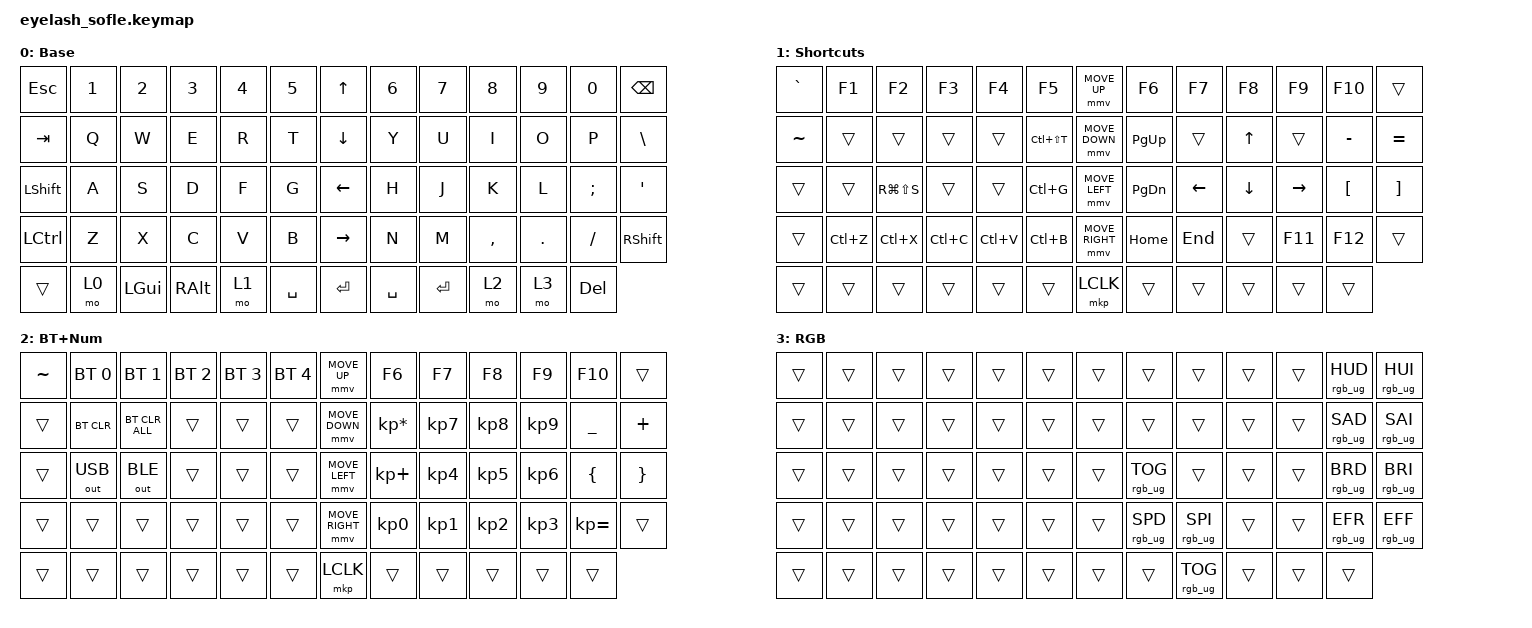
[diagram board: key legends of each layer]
#define ZMK_POINTING_DEFAULT_MOVE_VAL 1200  // 600
#define ZMK_POINTING_DEFAULT_SCRL_VAL 25   // 10

#include <input/processors.dtsi>
#include <zephyr/dt-bindings/input/input-event-codes.h>
#include <behaviors.dtsi>
#include <dt-bindings/zmk/bt.h>
#include <dt-bindings/zmk/keys.h>
#include <dt-bindings/zmk/outputs.h>
#include <dt-bindings/zmk/pointing.h>
#include <dt-bindings/zmk/rgb.h>

&mmv_input_listener { input-processors = <&zip_xy_scaler 2 1>; };

&msc_input_listener { input-processors = <&zip_scroll_scaler 2 1>; };

&msc {
    acceleration-exponent = <1>;      // 0
    time-to-max-speed-ms = <100>;       // 300
    delay-ms = <0>;                   // 0
};

&mmv {
    time-to-max-speed-ms = <500>;
    acceleration-exponent = <1>;
    trigger-period-ms = <16>;
};

&soft_off { hold-time-ms = <2000>; };

/ {
    scroll_encoder: scroll_encoder {
        compatible = "zmk,behavior-sensor-rotate";
        #sensor-binding-cells = <0>;
        bindings = <&msc SCRL_DOWN>, <&msc SCRL_UP>;

        tap-ms = <100>;
    };

    behaviors {
    };

    combos {
        compatible = "zmk,combos";

        softoff {
            bindings = <&soft_off>;
            key-positions = <14 28 40>;
        };
    };

    keymap {
        compatible = "zmk,keymap";

        Base {
            bindings = <
&kp ESC         &kp N1  &kp N2        &kp N3         &kp N4  &kp N5       &kp UP_ARROW     &kp N6     &kp N7     &kp N8     &kp N9   &kp N0      &kp BACKSPACE
&kp TAB         &kp Q   &kp W         &kp E          &kp R   &kp T        &kp DOWN_ARROW   &kp Y      &kp U      &kp I      &kp O    &kp P       &kp BSLH
&kp LEFT_SHIFT  &kp A   &kp S         &kp D          &kp F   &kp G        &kp LEFT_ARROW   &kp H      &kp J      &kp K      &kp L    &kp SEMI    &kp APOS
&kp LCTRL       &kp Z   &kp X         &kp C          &kp V   &kp B        &kp RIGHT_ARROW  &kp N      &kp M      &kp COMMA  &kp DOT  &kp FSLH    &kp RIGHT_SHIFT
&trans          &mo 0   &kp LEFT_GUI  &kp RIGHT_ALT  &mo 1   &kp SPACE    &kp ENTER        &kp SPACE  &kp ENTER  &mo 2      &mo 3    &kp DELETE
            >;

            display-name = "Base";
        };

        Shortcuts {
            bindings = <
&kp GRAVE  &kp F1     &kp F2         &kp F3     &kp F4     &kp F5           &mmv MOVE_UP     &kp F6     &kp F7    &kp F8    &kp F9     &kp F10           &trans
&kp TILDE  &trans     &trans         &trans     &trans     &kp LC(LS(T))    &mmv MOVE_DOWN   &kp PG_UP  &trans    &kp UP    &trans     &kp MINUS         &kp EQUAL
&trans     &trans     &kp RG(LS(S))  &trans     &trans     &kp LC(G)        &mmv MOVE_LEFT   &kp PG_DN  &kp LEFT  &kp DOWN  &kp RIGHT  &kp LEFT_BRACKET  &kp RIGHT_BRACKET
&trans     &kp LC(Z)  &kp LC(X)      &kp LC(C)  &kp LC(V)  &kp LC(B)        &mmv MOVE_RIGHT  &kp HOME   &kp END   &trans    &kp F11    &kp F12           &trans
&trans     &trans     &trans         &trans     &trans     &trans           &mkp LCLK        &trans     &trans    &trans    &trans     &trans
            >;

            display-name = "Shortcuts";
        };

        BT+Num {
            bindings = <
&kp TILDE  &bt BT_SEL 0  &bt BT_SEL 1    &bt BT_SEL 2  &bt BT_SEL 3  &bt BT_SEL 4    &mmv MOVE_UP     &kp F6           &kp F7           &kp F8           &kp F9           &kp F10       &trans
&trans     &bt BT_CLR    &bt BT_CLR_ALL  &trans        &trans        &trans          &mmv MOVE_DOWN   &kp KP_ASTERISK  &kp KP_NUMBER_7  &kp KP_NUMBER_8  &kp KP_NUMBER_9  &kp UNDER     &kp PLUS
&trans     &out OUT_USB  &out OUT_BLE    &trans        &trans        &trans          &mmv MOVE_LEFT   &kp KP_PLUS      &kp KP_NUMBER_4  &kp KP_NUMBER_5  &kp KP_NUMBER_6  &kp LBRC      &kp RBRC
&trans     &trans        &trans          &trans        &trans        &trans          &mmv MOVE_RIGHT  &kp KP_NUMBER_0  &kp KP_NUMBER_1  &kp KP_NUMBER_2  &kp KP_NUMBER_3  &kp KP_EQUAL  &trans
&trans     &trans        &trans          &trans        &trans        &trans          &mkp LCLK        &trans           &trans           &trans           &trans           &trans
            >;

            display-name = "BT+Num";
        };

        RGB {
            bindings = <
&trans  &trans  &trans  &trans  &trans  &trans    &trans  &trans           &trans           &trans  &trans  &rgb_ug RGB_HUD  &rgb_ug RGB_HUI
&trans  &trans  &trans  &trans  &trans  &trans    &trans  &trans           &trans           &trans  &trans  &rgb_ug RGB_SAD  &rgb_ug RGB_SAI
&trans  &trans  &trans  &trans  &trans  &trans    &trans  &rgb_ug RGB_TOG  &trans           &trans  &trans  &rgb_ug RGB_BRD  &rgb_ug RGB_BRI
&trans  &trans  &trans  &trans  &trans  &trans    &trans  &rgb_ug RGB_SPD  &rgb_ug RGB_SPI  &trans  &trans  &rgb_ug RGB_EFR  &rgb_ug RGB_EFF
&trans  &trans  &trans  &trans  &trans  &trans    &trans  &trans           &rgb_ug RGB_TOG  &trans  &trans  &trans
            >;

            display-name = "RGB";
        };
    };
};
